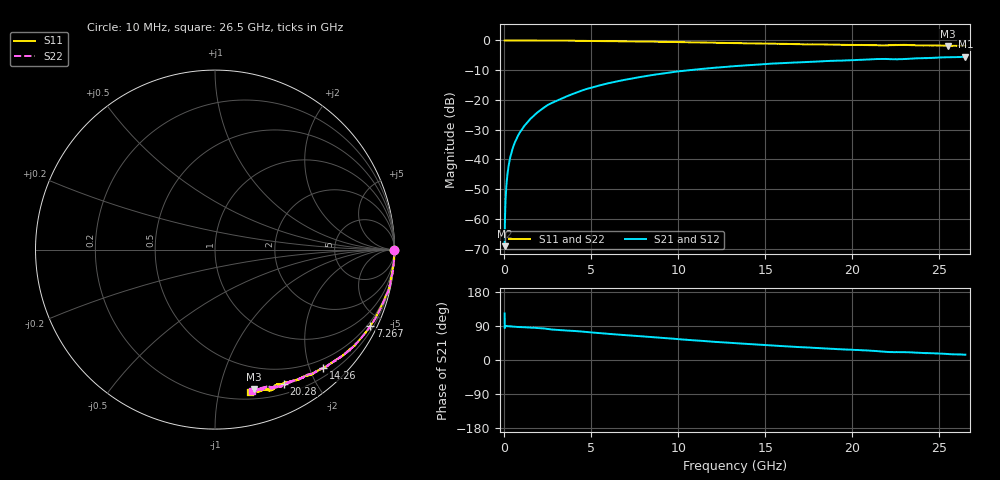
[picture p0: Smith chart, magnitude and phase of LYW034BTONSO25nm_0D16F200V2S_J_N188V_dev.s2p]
!Keysight Technologies,N5222B,MY61253708,A.15.00.15
!Date: Wednesday, June 19, 2024 10:36:08
!Correction: S11(C  2-Port  )
!S21(C  2-Port  )
!S12(C  2-Port  )
!S22(C  2-Port  )
!S2P File: Measurements: S11, S21, S12, S22:
# Hz S  RI  R 50
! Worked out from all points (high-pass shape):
!   2651 points, 10 MHz to 26.5 GHz, reference 50 ohm
!   highest |S21| = -5.47 dB at 26.5 GHz (marker M1); lowest = -69.2 dB at 10 MHz (marker M2)
!   |S21| within 3 dB of the highest: 13.63747 GHz to 13.66406 GHz (26.59 MHz wide, 0.195 % of centre); 13.69 GHz to end of sweep
!   lowest |S11| = -1.9 dB at 25.5 GHz (marker M3), VSWR 9.37, Z = 14.3 - j63.8 ohm
!   |S11| at or under -10 dB: nowhere
!   |S22| runs from -1.8 to 0.0 dB; largest |S21 - S12| = 0.0071
!   S11 on the Smith chart (normalised r, x): 10 MHz: open; 7.267 GHz: 0.35, -4.28; 14.26 GHz: 0.34, -2.22; 20.28 GHz: 0.31, -1.60; 26.5 GHz: 0.26, -1.25
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1e7  0.9983 -0.00311  -0.000189 0.000291  7.06e-05 0.000421  0.9985 -0.00195
6.997736e7  1 -0.00514  2.4e-05 0.00222  1.96e-05 0.00224  0.9998 -0.00475
1.599434e8  1 -0.0111  4.74e-05 0.00515  4.25e-05 0.00518  0.9996 -0.0104
2.099245e8  0.9998 -0.0138  8.11e-05 0.00679  8.25e-05 0.00677  0.9995 -0.0132
2.699019e8  0.9999 -0.0179  0.000191 0.0087  0.000173 0.00867  1 -0.0172
3.698642e8  0.9999 -0.0249  0.000326 0.0119  0.00028 0.012  0.9995 -0.0241
4.998151e8  0.9985 -0.0329  0.00052 0.0161  0.000537 0.0161  0.9989 -0.0318
6.697509e8  0.9985 -0.043  0.00089 0.0216  0.000873 0.0216  0.9988 -0.0425
8.596792e8  0.998 -0.0557  0.00149 0.0276  0.00148 0.0276  0.9977 -0.0555
1.459453e9  0.9911 -0.0959  0.00339 0.0471  0.00338 0.0471  0.9936 -0.0922
2.349117e9  0.9826 -0.1498  0.00965 0.0765  0.00978 0.0767  0.9839 -0.1499
3.218789e9  0.9724 -0.2041  0.0202 0.1018  0.0202 0.102  0.9727 -0.2033
4.428332e9  0.9452 -0.2751  0.0366 0.1384  0.0367 0.1387  0.947 -0.2725
7.26726e9  0.866 -0.4245  0.0979 0.2053  0.0985 0.2053  0.8678 -0.423
8.846664e9  0.8111 -0.4953  0.1395 0.2331  0.1403 0.233  0.8125 -0.4941
1.3255e10  0.64 -0.6372  0.2639 0.2595  0.2653 0.2588  0.6431 -0.6367
1.426462e10  0.6023 -0.6609  0.2897 0.2568  0.2911 0.2564  0.6044 -0.6586
1.767333e10  0.4707 -0.7203  0.3695 0.2347  0.3718 0.2329  0.4798 -0.7182
2.028235e10  0.3847 -0.747  0.4207 0.209  0.4223 0.2066  0.3995 -0.7485
2.209166e10  0.3361 -0.7571  0.4532 0.1753  0.454 0.1725  0.3284 -0.7632
2.550038e10  0.2163 -0.7777  0.5033 0.1401  0.504 0.14  0.2354 -0.7798
2.65e10  0.1969 -0.7926  0.517 0.1293  0.5156 0.1256  0.2088 -0.7904
